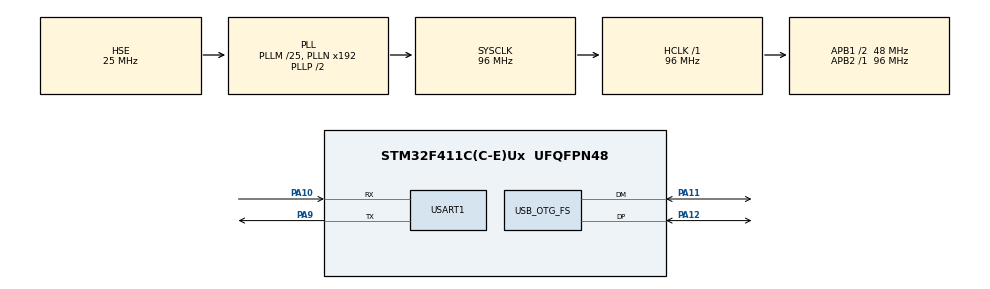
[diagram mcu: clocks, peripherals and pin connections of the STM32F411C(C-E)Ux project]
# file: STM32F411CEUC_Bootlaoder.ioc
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Mcu.Family=STM32F4
Mcu.Name=STM32F411C(C-E)Ux
Mcu.Package=UFQFPN48
NVIC.OTG_FS_IRQn=true\:0\:0\:false\:false\:true\:false\:true\:true
NVIC.PriorityGroup=NVIC_PRIORITYGROUP_4
PA10.Mode=Asynchronous
PA10.Signal=USART1_RX
PA11.Mode=Device_Only
PA11.Signal=USB_OTG_FS_DM
PA12.Mode=Device_Only
PA12.Signal=USB_OTG_FS_DP
PA13.Mode=Serial_Wire
PA13.Signal=SYS_JTMS-SWDIO
PA14.Mode=Serial_Wire
PA14.Signal=SYS_JTCK-SWCLK
PA9.Mode=Asynchronous
PA9.Signal=USART1_TX
PH0\ -\ OSC_IN.Mode=HSE-External-Oscillator
PH0\ -\ OSC_IN.Signal=RCC_OSC_IN
PH1\ -\ OSC_OUT.Mode=HSE-External-Oscillator
PH1\ -\ OSC_OUT.Signal=RCC_OSC_OUT
ProjectManager.HeapSize=0x200
ProjectManager.StackSize=0x400
ProjectManager.TargetToolchain=STM32CubeIDE
RCC.48MHZClocksFreq_Value=48000000
RCC.AHBFreq_Value=96000000
RCC.APB1CLKDivider=RCC_HCLK_DIV2
RCC.APB1Freq_Value=48000000
RCC.APB1TimFreq_Value=96000000
RCC.APB2Freq_Value=96000000
RCC.APB2TimFreq_Value=96000000
RCC.CortexFreq_Value=96000000
RCC.HCLKFreq_Value=96000000
RCC.HSE_VALUE=25000000
RCC.HSI_VALUE=16000000
RCC.LSE_VALUE=32768
RCC.PLLM=25
RCC.SYSCLKFreq_VALUE=96000000
RCC.SYSCLKSource=RCC_SYSCLKSOURCE_PLLCLK
RCC.VCOOutputFreq_Value=192000000
USART1.VirtualMode=VM_ASYNC
USB_DEVICE.CLASS_NAME_FS=DFU
USB_DEVICE.VirtualMode=Dfu
USB_DEVICE.VirtualModeFS=Dfu_FS
USB_OTG_FS.VirtualMode=Device_Only
VP_USB_DEVICE_VS_USB_DEVICE_DFU_FS.Mode=DFU_FS
board=custom

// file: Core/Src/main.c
/* USER CODE BEGIN Header */
/**
  ******************************************************************************
  * @file           : main.c
  * @brief          : Main program body
  ******************************************************************************
  * @attention
  *
  * Copyright (c) 2026 STMicroelectronics.
  * All rights reserved.
  *
  * This software is licensed under terms that can be found in the LICENSE file
  * in the root directory of this software component.
  * If no LICENSE file comes with this software, it is provided AS-IS.
  *
  ******************************************************************************
  */
/* USER CODE END Header */
#include "main.h"
#include "usb_device.h"

/* USER CODE BEGIN Includes */
#include <sys/unistd.h>
#include "boot_config.h"
/* USER CODE END Includes */

UART_HandleTypeDef huart1;

/* USER CODE BEGIN PV */
static ResetReason_t reset_cause;
/* USER CODE END PV */

void SystemClock_Config(void);
static void MX_GPIO_Init(void);
static void MX_USART1_UART_Init(void);

int main(void)
{

  /* USER CODE BEGIN 1 */
	reset_cause = getResetReason();
  /* USER CODE END 1 */

  /* MCU Configuration--------------------------------------------------------*/

  /* Reset of all peripherals, Initializes the Flash interface and the Systick. */
  HAL_Init();

  /* Configure the system clock */
  SystemClock_Config();

  /* Initialize all configured peripherals */
  MX_GPIO_Init();
  MX_USART1_UART_Init();
  MX_USB_DEVICE_Init();
  /* USER CODE BEGIN 2 */
  printf( "###############-----------Code Started - BOOTLOADER - 0 -----------###############\n\r");

  printf("[BOOT] --------- Reset Reason: %s\n\n\n", getResetReasonName(reset_cause));
  CheckForBootloaderMode();
  /* USER CODE END 2 */

  /* Infinite loop */
  /* USER CODE BEGIN WHILE */
  uint32_t bootStartTick = HAL_GetTick();  // ← before while(1)
  while (1)
  {
    /* USER CODE END WHILE */

    /* USER CODE BEGIN 3 */
	printf( "-----------Code Running - BOOTLOADER - %lu Sec -----------\n\r",HAL_GetTick()/1000 );
	HAL_Delay(1000);

    /* ── Bootloader timeout check ─────────────────────── */
	// TODO: if any command comes within this time time extend and if any active DFU connection it will ignore the timeout
    if ((HAL_GetTick() - bootStartTick) >= BOOTLOADER_TIMEOUT_MS)
    {
        printf("[BOOT] Timeout reached — restarting...\r\n");
        HAL_Delay(100);  // let UART flush
        NVIC_SystemReset();
    }
  }
  /* USER CODE END 3 */
}

void SystemClock_Config(void)
{
  RCC_OscInitTypeDef RCC_OscInitStruct = {0};
  RCC_ClkInitTypeDef RCC_ClkInitStruct = {0};

  /** Configure the main internal regulator output voltage
  */
  __HAL_RCC_PWR_CLK_ENABLE();
  __HAL_PWR_VOLTAGESCALING_CONFIG(PWR_REGULATOR_VOLTAGE_SCALE1);

  /** Initializes the RCC Oscillators according to the specified parameters
  * in the RCC_OscInitTypeDef structure.
  */
  RCC_OscInitStruct.OscillatorType = RCC_OSCILLATORTYPE_HSE;
  RCC_OscInitStruct.HSEState = RCC_HSE_ON;
  RCC_OscInitStruct.PLL.PLLState = RCC_PLL_ON;
  RCC_OscInitStruct.PLL.PLLSource = RCC_PLLSOURCE_HSE;
  RCC_OscInitStruct.PLL.PLLM = 25;
  RCC_OscInitStruct.PLL.PLLN = 192;
  RCC_OscInitStruct.PLL.PLLP = RCC_PLLP_DIV2;
  RCC_OscInitStruct.PLL.PLLQ = 4;
  if (HAL_RCC_OscConfig(&RCC_OscInitStruct) != HAL_OK)
  {
    Error_Handler();
  }

  /** Initializes the CPU, AHB and APB buses clocks
  */
  RCC_ClkInitStruct.ClockType = RCC_CLOCKTYPE_HCLK|RCC_CLOCKTYPE_SYSCLK
                              |RCC_CLOCKTYPE_PCLK1|RCC_CLOCKTYPE_PCLK2;
  RCC_ClkInitStruct.SYSCLKSource = RCC_SYSCLKSOURCE_PLLCLK;
  RCC_ClkInitStruct.AHBCLKDivider = RCC_SYSCLK_DIV1;
  RCC_ClkInitStruct.APB1CLKDivider = RCC_HCLK_DIV2;
  RCC_ClkInitStruct.APB2CLKDivider = RCC_HCLK_DIV1;

  if (HAL_RCC_ClockConfig(&RCC_ClkInitStruct, FLASH_LATENCY_3) != HAL_OK)
  {
    Error_Handler();
  }
}

static void MX_USART1_UART_Init(void)
{

  huart1.Instance = USART1;
  huart1.Init.BaudRate = 115200;
  huart1.Init.WordLength = UART_WORDLENGTH_8B;
  huart1.Init.StopBits = UART_STOPBITS_1;
  huart1.Init.Parity = UART_PARITY_NONE;
  huart1.Init.Mode = UART_MODE_TX_RX;
  huart1.Init.HwFlowCtl = UART_HWCONTROL_NONE;
  huart1.Init.OverSampling = UART_OVERSAMPLING_16;
  if (HAL_UART_Init(&huart1) != HAL_OK)
  {
    Error_Handler();
  }

}

static void MX_GPIO_Init(void)
{

  /* GPIO Ports Clock Enable */
  __HAL_RCC_GPIOH_CLK_ENABLE();
  __HAL_RCC_GPIOA_CLK_ENABLE();

}

/* USER CODE BEGIN 4 */
int _write(int file, char *data, int len)
{
    if (file == STDOUT_FILENO || file == STDERR_FILENO)
    {
        HAL_UART_Transmit(&huart1, (uint8_t*)data, len, len * 2);
        return len;
    }
    return -1;
}
/* USER CODE END 4 */

void Error_Handler(void)
{
  __disable_irq();
  while (1)
  {
  }
}
